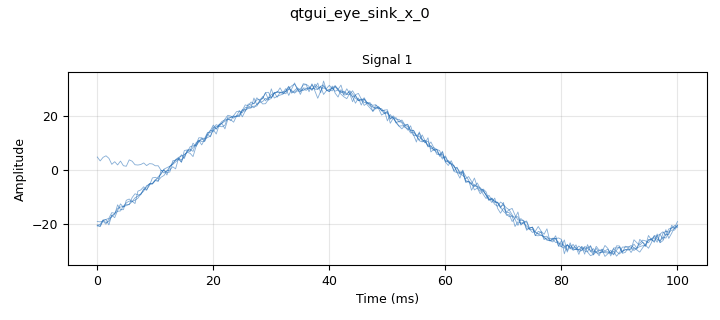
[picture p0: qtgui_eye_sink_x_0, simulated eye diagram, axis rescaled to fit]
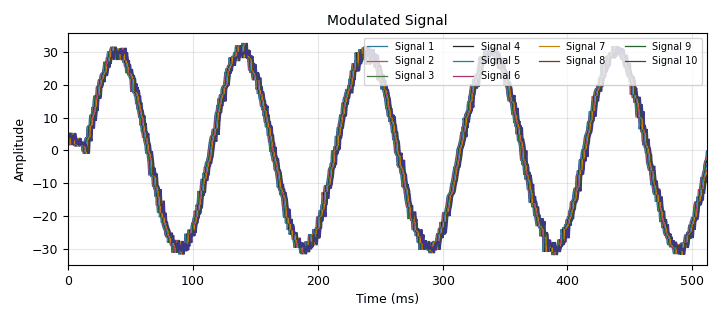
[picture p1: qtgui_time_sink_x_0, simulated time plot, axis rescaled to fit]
options:
  parameters:
    author: Santosh
    copyright: '2022'
    generate_options: qt_gui
    id: Eye_With_Noise
    output_language: python
    title: Eye_With_Noise
  states: {}

blocks:
- name: samp_rate
  id: variable
  parameters:
    value: '2000'
  states: {}
- name: analog_noise_source_x_0
  id: analog_noise_source_x
  parameters:
    amp: '1'
    noise_type: analog.GR_GAUSSIAN
    seed: '0'
    type: float
  states: {}
- name: analog_sig_source_x_0
  id: analog_sig_source_x
  parameters:
    amp: '6'
    freq: '1'
    offset: '-1'
    phase: '0'
    samp_rate: samp_rate
    type: float
    waveform: analog.GR_SQR_WAVE
  states: {}
- name: analog_sig_source_x_0_0
  id: analog_sig_source_x
  parameters:
    amp: '6'
    freq: '10'
    offset: '0'
    phase: '0'
    samp_rate: samp_rate
    type: float
    waveform: analog.GR_SIN_WAVE
  states: {}
- name: blocks_add_xx_0
  id: blocks_add_xx
  parameters:
    type: float
  states: {}
- name: blocks_complex_to_float_0
  id: blocks_complex_to_float
  parameters: {}
  states: {}
- name: blocks_delay_0_0
  id: blocks_delay
  parameters:
    delay: '1'
    type: float
  states: {}
- name: blocks_delay_0_0_0
  id: blocks_delay
  parameters:
    delay: '1'
    type: float
  states: {}
- name: blocks_delay_0_0_1
  id: blocks_delay
  parameters:
    delay: '1'
    type: float
  states: {}
- name: blocks_delay_0_0_1_0
  id: blocks_delay
  parameters:
    delay: '1'
    type: float
  states: {}
- name: blocks_delay_0_0_1_0_0
  id: blocks_delay
  parameters:
    delay: '1'
    type: float
  states: {}
- name: blocks_delay_0_0_1_0_0_0
  id: blocks_delay
  parameters:
    delay: '1'
    type: float
  states: {}
- name: blocks_delay_0_0_1_0_0_0_0
  id: blocks_delay
  parameters:
    delay: '1'
    type: float
  states: {}
- name: blocks_delay_0_0_1_0_0_0_0_0
  id: blocks_delay
  parameters:
    delay: '1'
    type: float
  states: {}
- name: blocks_delay_0_0_1_0_0_0_0_1
  id: blocks_delay
  parameters:
    delay: '1'
    type: float
  states: {}
- name: blocks_float_to_complex_0
  id: blocks_float_to_complex
  parameters: {}
  states: {}
- name: blocks_multiply_xx_0
  id: blocks_multiply_xx
  parameters:
    type: float
  states: {}
- name: blocks_multiply_xx_0_0
  id: blocks_multiply_xx
  parameters:
    type: float
  states: {}
- name: blocks_threshold_ff_0
  id: blocks_threshold_ff
  parameters:
    high: '1'
    init: '0'
    low: '-1'
  states: {}
- name: low_pass_filter_0
  id: low_pass_filter
  parameters:
    cutoff_freq: '1000'
    gain: '1'
    interp: '1'
    samp_rate: samp_rate
    type: interp_fir_filter_fff
    width: '1'
    win: window.WIN_HAMMING
  states: {}
- name: qtgui_eye_sink_x_0
  id: qtgui_eye_sink_x
  parameters:
    samp_per_symbol: '100'
    size: '1024'
    srate: samp_rate
    type: float
  states: {}
- name: qtgui_number_sink_0
  id: qtgui_number_sink
  parameters:
    graph_type: qtgui.NUM_GRAPH_HORIZ
    name: Demodulated Signal
    type: float
  states: {}
- name: qtgui_time_sink_x_0
  id: qtgui_time_sink_x
  parameters:
    name: Modulated Signal
    nconnections: '10'
    size: '1024'
    srate: samp_rate
    type: float
  states: {}
- name: virtual_sink_0
  id: virtual_sink
  parameters:
    stream_id: CHANNEL
  states: {}
- name: virtual_source_0
  id: virtual_source
  parameters:
    stream_id: CHANNEL
  states: {}

connections:
- [analog_noise_source_x_0, '0', blocks_add_xx_0, '0']
- [analog_sig_source_x_0, '0', blocks_multiply_xx_0, '0']
- [analog_sig_source_x_0_0, '0', blocks_multiply_xx_0, '1']
- [analog_sig_source_x_0_0, '0', blocks_multiply_xx_0_0, '0']
- [blocks_add_xx_0, '0', blocks_delay_0_0, '0']
- [blocks_add_xx_0, '0', blocks_float_to_complex_0, '0']
- [blocks_add_xx_0, '0', qtgui_eye_sink_x_0, '0']
- [blocks_add_xx_0, '0', qtgui_time_sink_x_0, '0']
- [blocks_complex_to_float_0, '0', blocks_multiply_xx_0_0, '1']
- [blocks_delay_0_0, '0', blocks_delay_0_0_0, '0']
- [blocks_delay_0_0, '0', qtgui_time_sink_x_0, '1']
- [blocks_delay_0_0_0, '0', blocks_delay_0_0_1, '0']
- [blocks_delay_0_0_0, '0', qtgui_time_sink_x_0, '2']
- [blocks_delay_0_0_1, '0', blocks_delay_0_0_1_0, '0']
- [blocks_delay_0_0_1, '0', qtgui_time_sink_x_0, '3']
- [blocks_delay_0_0_1_0, '0', blocks_delay_0_0_1_0_0, '0']
- [blocks_delay_0_0_1_0, '0', qtgui_time_sink_x_0, '4']
- [blocks_delay_0_0_1_0_0, '0', blocks_delay_0_0_1_0_0_0, '0']
- [blocks_delay_0_0_1_0_0, '0', qtgui_time_sink_x_0, '5']
- [blocks_delay_0_0_1_0_0_0, '0', blocks_delay_0_0_1_0_0_0_0, '0']
- [blocks_delay_0_0_1_0_0_0, '0', qtgui_time_sink_x_0, '6']
- [blocks_delay_0_0_1_0_0_0_0, '0', blocks_delay_0_0_1_0_0_0_0_0, '0']
- [blocks_delay_0_0_1_0_0_0_0, '0', qtgui_time_sink_x_0, '7']
- [blocks_delay_0_0_1_0_0_0_0_0, '0', blocks_delay_0_0_1_0_0_0_0_1, '0']
- [blocks_delay_0_0_1_0_0_0_0_0, '0', qtgui_time_sink_x_0, '8']
- [blocks_delay_0_0_1_0_0_0_0_1, '0', qtgui_time_sink_x_0, '9']
- [blocks_float_to_complex_0, '0', virtual_sink_0, '0']
- [blocks_multiply_xx_0, '0', blocks_add_xx_0, '1']
- [blocks_multiply_xx_0_0, '0', low_pass_filter_0, '0']
- [blocks_threshold_ff_0, '0', qtgui_number_sink_0, '0']
- [low_pass_filter_0, '0', blocks_threshold_ff_0, '0']
- [virtual_source_0, '0', blocks_complex_to_float_0, '0']

metadata:
  file_format: 1
  grc_version: 3.10.4.0
